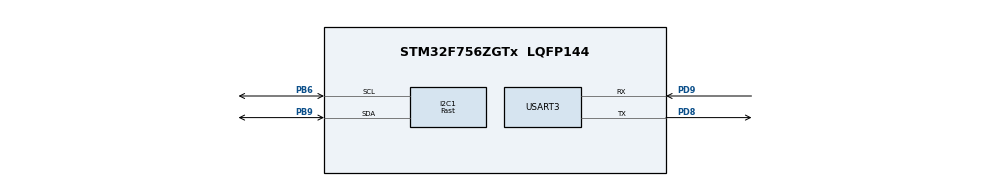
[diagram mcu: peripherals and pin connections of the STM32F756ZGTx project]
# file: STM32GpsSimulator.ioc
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I2C1.I2C_Speed_Mode=I2C_Fast
I2C1.OwnAddress=66
I2C1.Timing=0x0010061A
Mcu.Family=STM32F7
Mcu.Name=STM32F756ZGTx
Mcu.Package=LQFP144
NVIC.I2C1_ER_IRQn=true\:0\:0\:false\:false\:true\:true\:true\:true
NVIC.I2C1_EV_IRQn=true\:0\:0\:false\:false\:true\:true\:true\:true
NVIC.PriorityGroup=NVIC_PRIORITYGROUP_4
NVIC.TIM1_UP_TIM10_IRQn=true\:0\:0\:false\:false\:true\:true\:true\:true
PB6.GPIO_Pu=GPIO_PULLUP
PB6.Mode=I2C
PB6.Signal=I2C1_SCL
PB9.GPIO_Pu=GPIO_PULLUP
PB9.Mode=I2C
PB9.Signal=I2C1_SDA
PD8.Mode=Asynchronous
PD8.Signal=USART3_TX
PD9.Mode=Asynchronous
PD9.Signal=USART3_RX
ProjectManager.HeapSize=0x200
ProjectManager.StackSize=0x400
ProjectManager.TargetToolchain=STM32CubeIDE
RCC.HSE_VALUE=25000000
RCC.HSI_VALUE=16000000
RCC.LSE_VALUE=32768
RCC.USBFreq_Value=96000000
RCC.VCOOutputFreq_Value=192000000
TIM10.Period=999
TIM10.Prescaler=15999
USART3.VirtualMode-Asynchronous=VM_ASYNC
VP_TIM10_VS_ClockSourceINT.Mode=Enable_Timer
board=custom

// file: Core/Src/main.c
/* USER CODE BEGIN Header */
/**
  ******************************************************************************
  * @file           : main.c
  * @brief          : Main program body
  ******************************************************************************
  * @attention
  *
  * Copyright (c) 2026 STMicroelectronics.
  * All rights reserved.
  *
  * This software is licensed under terms that can be found in the LICENSE file
  * in the root directory of this software component.
  * If no LICENSE file comes with this software, it is provided AS-IS.
  *
  ******************************************************************************
  */
/* USER CODE END Header */
#include "main.h"

/* USER CODE BEGIN Includes */
#include <stdio.h>
/* USER CODE END Includes */

/* USER CODE BEGIN PD */
#define UART_DEBUG &huart3
/* USER CODE END PD */

I2C_HandleTypeDef hi2c1;

TIM_HandleTypeDef htim10;

UART_HandleTypeDef huart3;

/* USER CODE BEGIN PV */

/**
 * @brief GPS coordinate.
 */
typedef struct
{
    /**
     * @brief Latitude.
     */
    float latitude;

    /**
     * @brief Longitude.
     */
    float longitude;

} gps_coordinate_t;

/**
 * @brief Predefined GPS coordinates transmitted to the BeagleBone Green.
 *
 * The coordinates are grouped by city. Every timer tick switches
 * to the next entry in the table. When the BBG requests data over
 * I2C, the currently selected coordinates are transmitted.
 */
static const gps_coordinate_t gps_coordinates[] =
{
    /* Tel Aviv */
    { 10.100f, 10.150f },
    { 10.300f, 10.450f },
    { 10.550f, 10.600f },
    { 11.200f, 11.350f },
    { 12.750f, 12.900f },
    { 13.400f, 13.500f },

    /* Haifa */
    { 20.100f, 20.200f },
    { 21.300f, 21.450f },
    { 22.700f, 22.900f },
    { 24.200f, 24.350f },
    { 26.800f, 26.950f },
    { 28.500f, 28.700f },

    /* Jerusalem */
    { 30.100f, 30.200f },
    { 31.400f, 31.550f },
    { 32.800f, 32.950f },
    { 34.300f, 34.500f },
    { 36.700f, 36.850f },
    { 39.100f, 39.300f }
};

/**
 * @brief Number of predefined GPS coordinates.
 */
#define GPS_COORDINATES_COUNT (sizeof(gps_coordinates) / sizeof(gps_coordinates[0]))

/**
 * @brief Index of the current GPS coordinate.
 */
static volatile uint32_t current_coordinate = 0;

/**
 * @brief I2C transmission buffer.
 */
static gps_coordinate_t i2c_tx_packet;

/* USER CODE END PV */

void SystemClock_Config(void);
static void MX_GPIO_Init(void);
static void MX_I2C1_Init(void);
static void MX_TIM10_Init(void);
static void MX_USART3_UART_Init(void);

/* USER CODE BEGIN 0 */

/**
 * @brief Redirect printf output to the debug UART.
 *
 * This function is used by the C standard library to transmit
 * characters generated by printf() over the debug UART interface.
 *
 * @param file File descriptor (unused).
 * @param ptr Pointer to the data buffer.
 * @param len Number of bytes to transmit.
 *
 * @return Number of transmitted bytes.
 */
int _write(int file, char *ptr, int len)
{
	HAL_UART_Transmit(UART_DEBUG, (uint8_t *)ptr, len, 0xFFFF);
	return len;
}

/**
 * @brief I2C error callback.
 *
 * Invoked by the HAL when an I2C communication error occurs.
 *
 * @param hi2c Pointer to the I2C handle that reported the error.
 */
void HAL_I2C_ErrorCallback(I2C_HandleTypeDef *hi2c)
{
    if (hi2c->Instance == I2C1)
    {
        printf("I2C error callback: 0x%08lX\r\n",
               (unsigned long)HAL_I2C_GetError(hi2c));
    }
}

/**
 * @brief Timer period elapsed callback.
 *
 * Invoked by the HAL when the TIM10 update event occurs.
 * Advances to the next predefined GPS coordinate, which
 * will be transmitted to the BeagleBone Green upon the
 * next I2C read request.
 *
 * @param htim Pointer to the timer handle.
 */
void HAL_TIM_PeriodElapsedCallback(TIM_HandleTypeDef *htim)
{
	uint32_t next_coordinate;

	if (htim->Instance == TIM10)
	{
		next_coordinate = current_coordinate + 1U;

		if (next_coordinate >= GPS_COORDINATES_COUNT)
		{
			next_coordinate = 0U;
		}

		current_coordinate = next_coordinate;

		/*
		 * Debug output used to verify that the timer switches
		 * between predefined GPS coordinates correctly.
		 *
		 * Uncomment if GPS coordinate sequencing needs to be verified.
		 */
		// printf("Latitude: %.6f, Longitude: %.6f\r\n",
		//        gps_coordinates[next_coordinate].latitude,
		//        gps_coordinates[next_coordinate].longitude);
	}
}

/**
 * @brief I2C address match callback.
 *
 * Invoked by the HAL when an I2C master addresses the STM32.
 * If the master requests data, the callback copies the currently
 * selected GPS coordinate into the transmission buffer and starts
 * the interrupt-driven I2C transfer.
 *
 * @param hi2c Pointer to the I2C handle.
 * @param transfer_direction Transfer direction from the master's
 *                           point of view.
 * @param address_match_code Address that matched the STM32 slave.
 */
void HAL_I2C_AddrCallback(I2C_HandleTypeDef *hi2c,
                          uint8_t transfer_direction,
                          uint16_t address_match_code)
{
	uint32_t coordinate_index;

	(void)address_match_code;

	/*
	 * Debug output used to verify I2C address match events
	 * and transfer direction during STM32-BBG integration.
	 *
	 * Uncomment for I2C communication troubleshooting.
	 */
	// printf("ADDR: direction=%u, address=%u\r\n",
	//        transfer_direction,
	//        address_match_code);

	if ((hi2c->Instance == I2C1) &&
		(transfer_direction == I2C_DIRECTION_RECEIVE))
	{
		coordinate_index = current_coordinate;
		i2c_tx_packet = gps_coordinates[coordinate_index];

		HAL_I2C_Slave_Seq_Transmit_IT(
			hi2c,
			(uint8_t *)&i2c_tx_packet,
			sizeof(i2c_tx_packet),
			I2C_LAST_FRAME);
	}
}

/**
 * @brief I2C listen complete callback.
 *
 * Invoked by the HAL when the current I2C listen sequence is
 * completed. Re-enables listen mode so that the STM32 can process
 * the next request from the BeagleBone Green.
 *
 * @param hi2c Pointer to the I2C handle.
 */
void HAL_I2C_ListenCpltCallback(I2C_HandleTypeDef *hi2c)
{
    if (hi2c->Instance == I2C1)
    {
    	if (HAL_I2C_EnableListen_IT(hi2c) != HAL_OK)
		{
			Error_Handler();
		}
    }
}

/* USER CODE END 0 */

int main(void)
{

  /* MCU Configuration--------------------------------------------------------*/

  /* Reset of all peripherals, Initializes the Flash interface and the Systick. */
  HAL_Init();

  /* Configure the system clock */
  SystemClock_Config();

  /* Initialize all configured peripherals */
  MX_GPIO_Init();
  MX_I2C1_Init();
  MX_TIM10_Init();
  MX_USART3_UART_Init();
  /* USER CODE BEGIN 2 */

  if (HAL_TIM_Base_Start_IT(&htim10) != HAL_OK)
  {
      Error_Handler();
  }

  if (HAL_I2C_EnableListen_IT(&hi2c1) != HAL_OK)
  {
      Error_Handler();
  }

  /* USER CODE END 2 */

  /* Infinite loop */
  while (1)
  {

  }
}

void SystemClock_Config(void)
{
  RCC_OscInitTypeDef RCC_OscInitStruct = {0};
  RCC_ClkInitTypeDef RCC_ClkInitStruct = {0};

  /** Configure the main internal regulator output voltage
  */
  __HAL_RCC_PWR_CLK_ENABLE();
  __HAL_PWR_VOLTAGESCALING_CONFIG(PWR_REGULATOR_VOLTAGE_SCALE3);

  /** Initializes the RCC Oscillators according to the specified parameters
  * in the RCC_OscInitTypeDef structure.
  */
  RCC_OscInitStruct.OscillatorType = RCC_OSCILLATORTYPE_HSI;
  RCC_OscInitStruct.HSIState = RCC_HSI_ON;
  RCC_OscInitStruct.HSICalibrationValue = RCC_HSICALIBRATION_DEFAULT;
  RCC_OscInitStruct.PLL.PLLState = RCC_PLL_NONE;
  if (HAL_RCC_OscConfig(&RCC_OscInitStruct) != HAL_OK)
  {
    Error_Handler();
  }

  /** Initializes the CPU, AHB and APB buses clocks
  */
  RCC_ClkInitStruct.ClockType = RCC_CLOCKTYPE_HCLK|RCC_CLOCKTYPE_SYSCLK
                              |RCC_CLOCKTYPE_PCLK1|RCC_CLOCKTYPE_PCLK2;
  RCC_ClkInitStruct.SYSCLKSource = RCC_SYSCLKSOURCE_HSI;
  RCC_ClkInitStruct.AHBCLKDivider = RCC_SYSCLK_DIV1;
  RCC_ClkInitStruct.APB1CLKDivider = RCC_HCLK_DIV1;
  RCC_ClkInitStruct.APB2CLKDivider = RCC_HCLK_DIV1;

  if (HAL_RCC_ClockConfig(&RCC_ClkInitStruct, FLASH_LATENCY_0) != HAL_OK)
  {
    Error_Handler();
  }
}

static void MX_I2C1_Init(void)
{

  hi2c1.Instance = I2C1;
  hi2c1.Init.Timing = 0x0010061A;
  hi2c1.Init.OwnAddress1 = 132;
  hi2c1.Init.AddressingMode = I2C_ADDRESSINGMODE_7BIT;
  hi2c1.Init.DualAddressMode = I2C_DUALADDRESS_DISABLE;
  hi2c1.Init.OwnAddress2 = 0;
  hi2c1.Init.OwnAddress2Masks = I2C_OA2_NOMASK;
  hi2c1.Init.GeneralCallMode = I2C_GENERALCALL_DISABLE;
  hi2c1.Init.NoStretchMode = I2C_NOSTRETCH_DISABLE;
  if (HAL_I2C_Init(&hi2c1) != HAL_OK)
  {
    Error_Handler();
  }

  /** Configure Analogue filter
  */
  if (HAL_I2CEx_ConfigAnalogFilter(&hi2c1, I2C_ANALOGFILTER_ENABLE) != HAL_OK)
  {
    Error_Handler();
  }

  /** Configure Digital filter
  */
  if (HAL_I2CEx_ConfigDigitalFilter(&hi2c1, 0) != HAL_OK)
  {
    Error_Handler();
  }

}

static void MX_TIM10_Init(void)
{

  htim10.Instance = TIM10;
  htim10.Init.Prescaler = 15999;
  htim10.Init.CounterMode = TIM_COUNTERMODE_UP;
  htim10.Init.Period = 999;
  htim10.Init.ClockDivision = TIM_CLOCKDIVISION_DIV1;
  htim10.Init.AutoReloadPreload = TIM_AUTORELOAD_PRELOAD_DISABLE;
  if (HAL_TIM_Base_Init(&htim10) != HAL_OK)
  {
    Error_Handler();
  }

}

static void MX_USART3_UART_Init(void)
{

  huart3.Instance = USART3;
  huart3.Init.BaudRate = 115200;
  huart3.Init.WordLength = UART_WORDLENGTH_8B;
  huart3.Init.StopBits = UART_STOPBITS_1;
  huart3.Init.Parity = UART_PARITY_NONE;
  huart3.Init.Mode = UART_MODE_TX_RX;
  huart3.Init.HwFlowCtl = UART_HWCONTROL_NONE;
  huart3.Init.OverSampling = UART_OVERSAMPLING_16;
  huart3.Init.OneBitSampling = UART_ONE_BIT_SAMPLE_DISABLE;
  huart3.AdvancedInit.AdvFeatureInit = UART_ADVFEATURE_NO_INIT;
  if (HAL_UART_Init(&huart3) != HAL_OK)
  {
    Error_Handler();
  }

}

static void MX_GPIO_Init(void)
{

  /* GPIO Ports Clock Enable */
  __HAL_RCC_GPIOD_CLK_ENABLE();
  __HAL_RCC_GPIOB_CLK_ENABLE();

}

void Error_Handler(void)
{
  __disable_irq();
  while (1)
  {
  }
}
